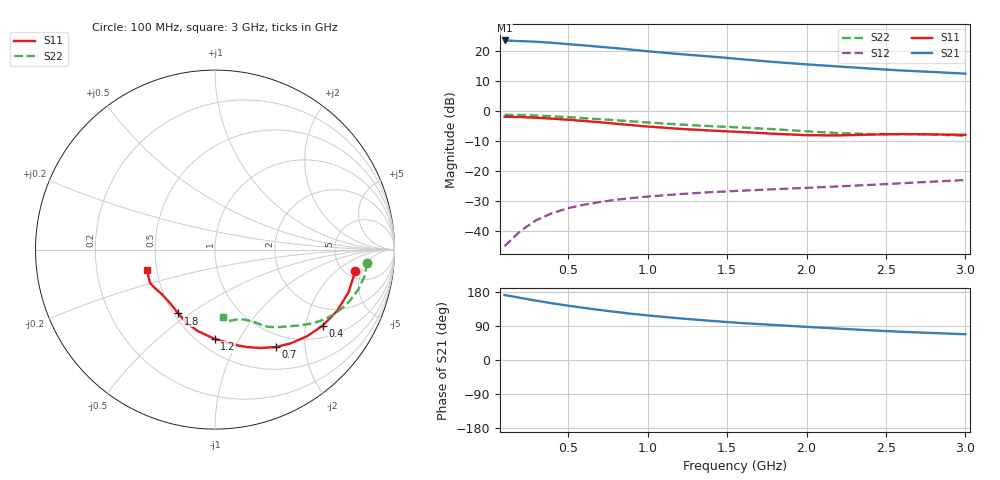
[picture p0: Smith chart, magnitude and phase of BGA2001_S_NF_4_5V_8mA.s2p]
! Title: BGA2001
! Bias: Vce=4.5V; Ic=8.0mA controlled / noise data included
! Company: Philips Semiconductors NL
! User: Quality&Reliability T&D
! Measure time: 23 Oct 1998 / 08:34:37
#  MHz  S  MA  R 50
! Freq  S11  S21  S12  S22  :
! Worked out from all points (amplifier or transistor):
!   20 points, 100 MHz to 3 GHz, reference 50 ohm
!   highest |S21| = 23.4 dB at 100 MHz (marker M1)
!   |S21| within 3 dB of that: start of sweep to 883.8 MHz
!   unconditionally stable (mu >= 1): 1.819 GHz to end of sweep
!   at 400 MHz: K = 0.40, MSG = 28.4 dB, |S12| = -34.2 dB
!   at 1.2 GHz: K = 0.72, MSG = 23.4 dB, |S12| = -27.9 dB
!   at 3 GHz: K = 1.26, MAG = 14.7 dB, |S12| = -23.2 dB
!   lowest NFmin = 1.57 dB at 1.8 GHz
!   S11 on the Smith chart (normalised r, x): 100 MHz: 6.01, -3.86; 400 MHz: 1.36, -2.50; 700 MHz: 0.81, -1.48; 1.2 GHz: 0.60, -0.79; 1.8 GHz: 0.53, -0.45; 3 GHz: 0.44, -0.12
100  0.7903 -8.8  14.81 171.4  0.005485 59.5  0.8519 -5.1
200  0.7814 -17.5  14.44 163.9  0.009902 70.2  0.846 -10.3
300  0.7616 -26.6  14.07 156.5  0.01491 71.0  0.8283 -15.7
400  0.7342 -35.2  13.52 149.6  0.01951 68.7  0.8043 -20.6
500  0.7046 -43.2  12.85 143.3  0.02359 66.3  0.7777 -25.2
600  0.672 -50.9  12.25 137.4  0.02698 63.7  0.749 -29.2
700  0.6396 -58.0  11.6 132.1  0.02993 61.5  0.7206 -32.8
800  0.6048 -65.0  11.03 126.8  0.03259 59.6  0.6915 -35.9
900  0.5731 -71.5  10.38 122.0  0.0348 58.1  0.6627 -38.8
1000  0.5435 -77.9  9.785 117.7  0.0369 57.1  0.6353 -41.7
1200  0.497 -90.3  8.78 109.9  0.04048 55.5  0.5867 -46.9
1400  0.4647 -101.6  7.98 103.2  0.04369 54.8  0.5511 -51.7
1600  0.4386 -111.0  7.18 97.2  0.04633 55.1  0.5212 -55.6
1800  0.4107 -119.9  6.46 92.3  0.04892 56.3  0.4893 -58.6
2000  0.3894 -130.0  5.914 87.4  0.05155 56.9  0.4527 -62.2
2200  0.3868 -140.2  5.449 82.8  0.05449 57.2  0.4217 -67.5
2400  0.3983 -147.6  5.035 78.4  0.05767 58.2  0.4065 -73.5
2600  0.4067 -152.4  4.666 74.4  0.06147 59.8  0.4054 -78.2
2800  0.4017 -156.9  4.406 71.2  0.06549 60.4  0.3998 -80.8
3000  0.3941 -162.9  4.143 68.0  0.06943 61.1  0.3799 -83.4
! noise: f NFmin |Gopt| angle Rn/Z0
900  1.61  0.23  21.6  0.31
1000  1.67  0.2  19.6  0.28
1800  1.575  0.204  73.63  0.262
2000  1.625  0.169  75.08  0.221
2200  1.728  0.141  83.15  0.222
2400  1.775  0.156  107.3  0.223
